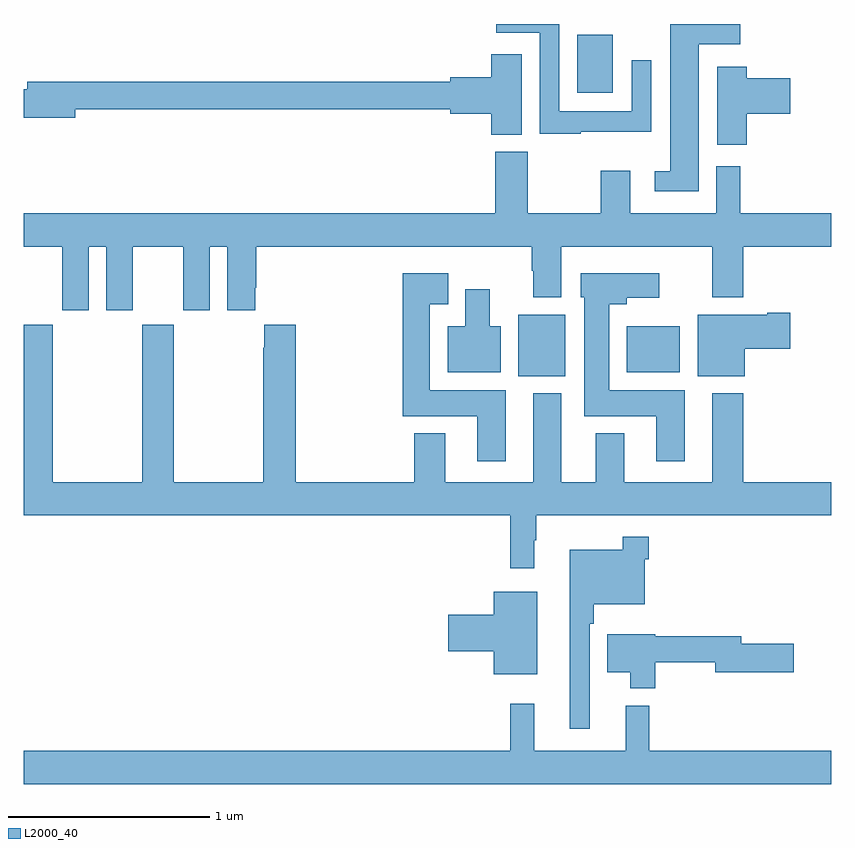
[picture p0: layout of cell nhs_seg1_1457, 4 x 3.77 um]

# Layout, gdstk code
import gdstk
lib = gdstk.Library(unit=1e-6, precision=1e-09)
def R(c, l, rs):  # rectangles x0, y0, x1, y1
    for r in rs: c.add(gdstk.rectangle(r[:2], r[2:], *l))
def P(c, l, *ps):  # polygons
    for p in ps: c.add(gdstk.Polygon(p, *l))
L2000_40 = (2000, 40)

nhs_seg1_1457 = lib.new_cell('nhs_seg1_1457')
R(nhs_seg1_1457, L2000_40, [(193.451,520.454,193.684,520.759), (193.988,520.472,194.251,520.702), (193.742,521.858,193.918,522.145)])
P(nhs_seg1_1457, L2000_40, [(194.344,522.098),(194.551,522.098),(194.551,522.199),(194.204,522.199),(194.204,521.468),(194.127,521.468),(194.127,521.37),(194.344,521.37)],
  [(193.76,521.666),(194.109,521.666),(194.109,522.019),(194.013,522.019),(194.013,521.767),(193.653,521.767),(193.653,522.199),(193.341,522.199),(193.341,522.156),(193.557,522.156),(193.557,521.656),(193.76,521.656)],
  [(193.468,522.049),(193.316,522.049),(193.316,521.936),(193.112,521.936),(193.112,521.912),(191.015,521.912),(191.015,521.876),(191,521.876),(191,521.734),(191.254,521.734),(191.254,521.776),(193.112,521.776),(193.112,521.753),(193.316,521.753),(193.316,521.65),(193.468,521.65)],
  [(194.582,521.753),(194.797,521.753),(194.797,521.931),(194.582,521.931),(194.582,521.986),(194.435,521.986),(194.435,521.601),(194.582,521.601)],
  [(191.32,521.096),(191.408,521.096),(191.408,520.779),(191.539,520.779),(191.539,521.096),(191.789,521.096),(191.789,520.779),(191.92,520.779),(191.92,521.096),(192.008,521.096),(192.008,520.779),(192.145,520.779),(192.145,520.891),(192.152,520.891),(192.152,521.096),(193.516,521.096),(193.516,520.976),(193.523,520.976),(193.523,520.844),(193.663,520.844),(193.663,521.096),(194.411,521.096),(194.411,520.844),(194.564,520.844),(194.564,521.096),(195,521.096),(195,521.26),(194.551,521.26),(194.551,521.494),(194.432,521.494),(194.432,521.26),(194.005,521.26),(194.005,521.472),(193.858,521.472),(193.858,521.26),(193.497,521.26),(193.497,521.565),(193.337,521.565),(193.337,521.26),(191,521.26),(191,521.096),(191.189,521.096),(191.189,520.779),(191.32,520.779)],
  [(194.275,520.384),(193.9,520.384),(193.9,520.811),(193.987,520.811),(193.987,520.841),(194.149,520.841),(194.149,520.963),(193.76,520.963),(193.76,520.845),(193.778,520.845),(193.778,520.256),(194.135,520.256),(194.135,520.032),(194.275,520.032)],
  [(193.387,520.384),(193.012,520.384),(193.012,520.811),(193.102,520.811),(193.102,520.963),(192.878,520.963),(192.878,520.256),(193.247,520.256),(193.247,520.032),(193.387,520.032)],
  [(193.363,520.702),(193.309,520.702),(193.309,520.885),(193.187,520.885),(193.187,520.702),(193.1,520.702),(193.1,520.472),(193.363,520.472)],
  [(194.572,520.589),(194.797,520.589),(194.797,520.767),(194.684,520.767),(194.684,520.759),(194.339,520.759),(194.339,520.454),(194.572,520.454)],
  [(193.528,519.641),(193.54,519.641),(193.54,519.764),(195,519.764),(195,519.928),(194.564,519.928),(194.564,520.369),(194.411,520.369),(194.411,519.928),(193.975,519.928),(193.975,520.171),(193.835,520.171),(193.835,519.928),(193.663,519.928),(193.663,520.369),(193.523,520.369),(193.523,519.928),(193.087,519.928),(193.087,520.171),(192.935,520.171),(192.935,519.928),(192.347,519.928),(192.347,520.708),(192.191,520.708),(192.191,520.595),(192.187,520.595),(192.187,519.928),(191.742,519.928),(191.742,520.708),(191.587,520.708),(191.587,519.928),(191.142,519.928),(191.142,520.708),(191,520.708),(191,519.764),(193.411,519.764),(193.411,519.501),(193.528,519.501)],
  [(193.803,519.227),(193.823,519.227),(193.823,519.323),(194.076,519.323),(194.076,519.545),(194.096,519.545),(194.096,519.658),(193.968,519.658),(193.968,519.592),(193.706,519.592),(193.706,518.706),(193.803,518.706)],
  [(193.543,519.385),(193.328,519.385),(193.328,519.272),(193.104,519.272),(193.104,519.089),(193.328,519.089),(193.328,518.975),(193.543,518.975)],
  [(194.128,519.036),(194.426,519.036),(194.426,518.986),(194.815,518.986),(194.815,519.128),(194.554,519.128),(194.554,519.164),(194.128,519.164),(194.128,519.175),(193.892,519.175),(193.892,518.987),(194.006,518.987),(194.006,518.906),(194.128,518.906)],
  [(195,518.596),(194.099,518.596),(194.099,518.821),(193.982,518.821),(193.982,518.596),(193.529,518.596),(193.529,518.83),(193.411,518.83),(193.411,518.596),(191,518.596),(191,518.432),(195,518.432)])

lib.write_gds('nhs_seg1_1457.gds')
